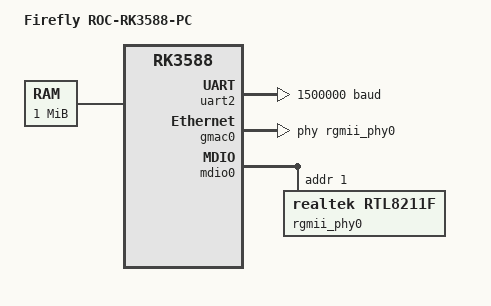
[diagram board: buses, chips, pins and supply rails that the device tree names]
/*
 * Copyright (c) 2025 Syswonder
 * SPDX-License-Identifier: Apache-2.0
 */

/dts-v1/;

#include <arm64/rockchip/rk3588.dtsi>
#include <common/mem.h>

/ {
	compatible = "rockchip,rk3588";
	model = "Firefly ROC-RK3588-PC";

	chosen {
		zephyr,console = &uart2;
		zephyr,shell-uart = &uart2;
		zephyr,sram = &dram;
	};

	dram: memory@50000000 {
		compatible = "mmio-sram";
		reg = <0x50000000 DT_SIZE_M(1)>;
		device_type = "memory";
	};
};

&uart2 {
	current-speed = <1500000>;
	status = "okay";
};

&uart3 {
	current-speed = <115200>;
	status = "disabled";
};

&gmac0 {
	phy-handle = <&rgmii_phy0>;
	clock-in-out = "output";
	tx-delay = <0x47>;
	rx-delay = <0>;
	zephyr,random-mac-address;
	status = "okay";
};

&mdio0 {
	status = "okay";

	rgmii_phy0: ethernet-phy@1 {
		compatible = "realtek,rtl8211f";
		reg = <0x1>;
		status = "okay";
	};
};

&ptp_clock0 {
	status = "okay";
};
